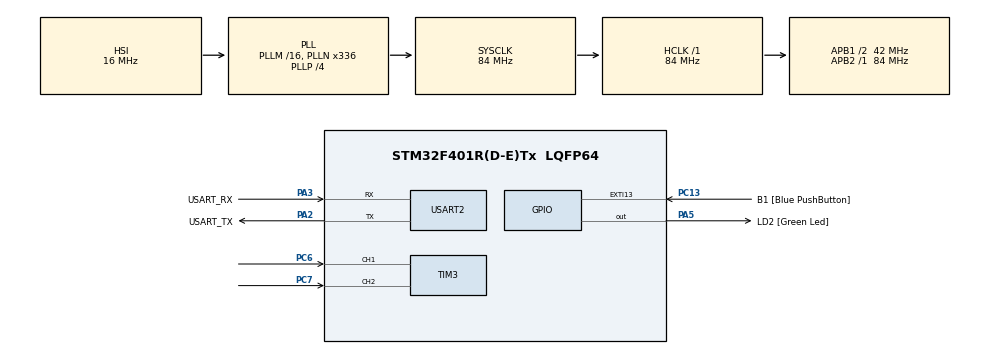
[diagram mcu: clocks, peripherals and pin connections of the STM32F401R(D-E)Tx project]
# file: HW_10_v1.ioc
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Dma.Request0=USART2_TX
Dma.USART2_TX.0.Direction=DMA_MEMORY_TO_PERIPH
Dma.USART2_TX.0.FIFOMode=DMA_FIFOMODE_DISABLE
Dma.USART2_TX.0.Instance=DMA1_Stream6
Dma.USART2_TX.0.MemDataAlignment=DMA_MDATAALIGN_BYTE
Dma.USART2_TX.0.MemInc=DMA_MINC_ENABLE
Dma.USART2_TX.0.Mode=DMA_NORMAL
Dma.USART2_TX.0.PeriphDataAlignment=DMA_PDATAALIGN_BYTE
Dma.USART2_TX.0.PeriphInc=DMA_PINC_DISABLE
Dma.USART2_TX.0.Priority=DMA_PRIORITY_LOW
Mcu.Family=STM32F4
Mcu.Name=STM32F401R(D-E)Tx
Mcu.Package=LQFP64
NVIC.DMA1_Stream6_IRQn=true\:0\:0\:false\:false\:true\:false\:true\:true
NVIC.PriorityGroup=NVIC_PRIORITYGROUP_0
NVIC.TIM2_IRQn=true\:0\:0\:false\:false\:true\:true\:true\:true
NVIC.USART2_IRQn=true\:0\:0\:false\:false\:true\:true\:true\:true
PA13.GPIO_Label=TMS
PA13.Mode=Serial_Wire
PA13.Signal=SYS_JTMS-SWDIO
PA14.GPIO_Label=TCK
PA14.Mode=Serial_Wire
PA14.Signal=SYS_JTCK-SWCLK
PA2.GPIO_Label=USART_TX
PA2.GPIO_Mode=GPIO_MODE_AF_PP
PA2.GPIO_PuPd=GPIO_NOPULL
PA2.GPIO_Speed=GPIO_SPEED_FREQ_LOW
PA2.Mode=Asynchronous
PA2.Signal=USART2_TX
PA3.GPIO_Label=USART_RX
PA3.GPIO_Mode=GPIO_MODE_AF_PP
PA3.GPIO_PuPd=GPIO_NOPULL
PA3.GPIO_Speed=GPIO_SPEED_FREQ_LOW
PA3.Mode=Asynchronous
PA3.Signal=USART2_RX
PA5.GPIO_Label=LD2 [Green Led]
PA5.GPIO_Mode=GPIO_MODE_OUTPUT_PP
PA5.GPIO_PuPd=GPIO_NOPULL
PA5.GPIO_Speed=GPIO_SPEED_FREQ_LOW
PA5.Signal=GPIO_Output
PB3.GPIO_Label=SWO
PB3.Signal=SYS_JTDO-SWO
PC13-ANTI_TAMP.GPIO_Label=B1 [Blue PushButton]
PC13-ANTI_TAMP.GPIO_ModeDefaultEXTI=GPIO_MODE_IT_FALLING
PC13-ANTI_TAMP.GPIO_PuPd=GPIO_NOPULL
PC13-ANTI_TAMP.Signal=GPXTI13
PC14-OSC32_IN.Mode=LSE-External-Oscillator
PC14-OSC32_IN.Signal=RCC_OSC32_IN
PC15-OSC32_OUT.Mode=LSE-External-Oscillator
PC15-OSC32_OUT.Signal=RCC_OSC32_OUT
PC6.Signal=S_TIM3_CH1
PC7.Signal=S_TIM3_CH2
PH0\ -\ OSC_IN.Mode=HSE-External-Clock-Source
PH0\ -\ OSC_IN.Signal=RCC_OSC_IN
PH1\ -\ OSC_OUT.Mode=HSE-External-Clock-Source
PH1\ -\ OSC_OUT.Signal=RCC_OSC_OUT
ProjectManager.HeapSize=0x200
ProjectManager.StackSize=0x400
ProjectManager.TargetToolchain=STM32CubeIDE
RCC.48MHZClocksFreq_Value=48000000
RCC.AHBFreq_Value=84000000
RCC.APB1CLKDivider=RCC_HCLK_DIV2
RCC.APB1Freq_Value=42000000
RCC.APB1TimFreq_Value=84000000
RCC.APB2Freq_Value=84000000
RCC.APB2TimFreq_Value=84000000
RCC.CortexFreq_Value=84000000
RCC.HCLKFreq_Value=84000000
RCC.HSE_VALUE=8000000
RCC.HSI_VALUE=16000000
RCC.PLLN=336
RCC.PLLP=RCC_PLLP_DIV4
RCC.PLLQ=7
RCC.SYSCLKFreq_VALUE=84000000
RCC.SYSCLKSource=RCC_SYSCLKSOURCE_PLLCLK
RCC.VCOOutputFreq_Value=336000000
SH.S_TIM3_CH1.0=TIM3_CH1,Encoder_Interface
SH.S_TIM3_CH2.0=TIM3_CH2,Encoder_Interface
TIM2.Period=10000-1
TIM2.Prescaler=8400-1
TIM3.ClockDivision=TIM_CLOCKDIVISION_DIV4
TIM3.IC1Filter=15
TIM3.IC1Polarity=TIM_ICPOLARITY_FALLING
TIM3.IC1Prescaler=TIM_ICPSC_DIV1
TIM3.IC2Filter=15
TIM3.IC2Prescaler=TIM_ICPSC_DIV1
USART2.VirtualMode=VM_ASYNC
VP_TIM2_VS_ClockSourceINT.Mode=Internal
board=NUCLEO-F401RE

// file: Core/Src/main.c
/* USER CODE BEGIN Header */
/**
  ******************************************************************************
  * @file           : main.c
  * @brief          : Main program body
  ******************************************************************************
  * @attention
  *
  * Copyright (c) 2024 STMicroelectronics.
  * All rights reserved.
  *
  * This software is licensed under terms that can be found in the LICENSE file
  * in the root directory of this software component.
  * If no LICENSE file comes with this software, it is provided AS-IS.
  *
  ******************************************************************************
  */
/* USER CODE END Header */
#include "main.h"

/* USER CODE BEGIN Includes */
#include <stdio.h>
/* USER CODE END Includes */

TIM_HandleTypeDef htim2;
TIM_HandleTypeDef htim3;

UART_HandleTypeDef huart2;
DMA_HandleTypeDef hdma_usart2_tx;

/* USER CODE BEGIN PV */
uint16_t old_count = 0;
char str[64];
/* USER CODE END PV */

void SystemClock_Config(void);
static void MX_GPIO_Init(void);
static void MX_DMA_Init(void);
static void MX_USART2_UART_Init(void);
static void MX_TIM2_Init(void);
static void MX_TIM3_Init(void);

/* USER CODE BEGIN 0 */

int16_t delta_counters(uint16_t count) {
	int16_t result;
	if(__HAL_TIM_GET_FLAG(&htim3, TIM_FLAG_UPDATE)) {// if the counter of the time overflowed or underflowed
		// assumption: at most the count value can do only 1 round clockwise or anti-clockwise for every read
		if(count < old_count) { //OVERFLOW
			result = (UINT16_MAX - old_count + count + 1);
		} else { //UNDERFLOW
			result = -(UINT16_MAX - count + old_count + 1 );
		}

		__HAL_TIM_CLEAR_FLAG(&htim3, TIM_FLAG_UPDATE); //clear the flag to not enter here again
		return result;
	}

	result = (count - old_count);
	return result;
}

void HAL_TIM_PeriodElapsedCallback(TIM_HandleTypeDef* htim) {
	if(htim->Instance == TIM2) {
		uint16_t count = __HAL_TIM_GetCounter(&htim3);
		int ticks = delta_counters(count);
		double rpm = ((double)ticks * 5 ) / 2; // 60/12 = 5; 2 because at every step is 2 tick

		int len = snprintf(str, sizeof(str), "Rpm: %.2f\r\n", rpm);
		if (HAL_UART_GetState(&huart2) == HAL_UART_STATE_READY) {
			HAL_UART_Transmit_DMA(&huart2, str, len);
		}
		old_count = count;
	}
}
/* USER CODE END 0 */

int main(void)
{

  /* MCU Configuration--------------------------------------------------------*/

  /* Reset of all peripherals, Initializes the Flash interface and the Systick. */
  HAL_Init();

  /* Configure the system clock */
  SystemClock_Config();

  /* Initialize all configured peripherals */
  MX_GPIO_Init();
  MX_DMA_Init();
  MX_USART2_UART_Init();
  MX_TIM2_Init();
  MX_TIM3_Init();
  /* USER CODE BEGIN 2 */
  HAL_TIM_Encoder_Start(&htim3, TIM_CHANNEL_ALL);
  HAL_TIM_Base_Start_IT(&htim2);
  /* USER CODE END 2 */

  /* Infinite loop */
  while (1)
  {

  }
}

void SystemClock_Config(void)
{
  RCC_OscInitTypeDef RCC_OscInitStruct = {0};
  RCC_ClkInitTypeDef RCC_ClkInitStruct = {0};

  /** Configure the main internal regulator output voltage
  */
  __HAL_RCC_PWR_CLK_ENABLE();
  __HAL_PWR_VOLTAGESCALING_CONFIG(PWR_REGULATOR_VOLTAGE_SCALE2);

  /** Initializes the RCC Oscillators according to the specified parameters
  * in the RCC_OscInitTypeDef structure.
  */
  RCC_OscInitStruct.OscillatorType = RCC_OSCILLATORTYPE_HSI;
  RCC_OscInitStruct.HSIState = RCC_HSI_ON;
  RCC_OscInitStruct.HSICalibrationValue = RCC_HSICALIBRATION_DEFAULT;
  RCC_OscInitStruct.PLL.PLLState = RCC_PLL_ON;
  RCC_OscInitStruct.PLL.PLLSource = RCC_PLLSOURCE_HSI;
  RCC_OscInitStruct.PLL.PLLM = 16;
  RCC_OscInitStruct.PLL.PLLN = 336;
  RCC_OscInitStruct.PLL.PLLP = RCC_PLLP_DIV4;
  RCC_OscInitStruct.PLL.PLLQ = 7;
  if (HAL_RCC_OscConfig(&RCC_OscInitStruct) != HAL_OK)
  {
    Error_Handler();
  }

  /** Initializes the CPU, AHB and APB buses clocks
  */
  RCC_ClkInitStruct.ClockType = RCC_CLOCKTYPE_HCLK|RCC_CLOCKTYPE_SYSCLK
                              |RCC_CLOCKTYPE_PCLK1|RCC_CLOCKTYPE_PCLK2;
  RCC_ClkInitStruct.SYSCLKSource = RCC_SYSCLKSOURCE_PLLCLK;
  RCC_ClkInitStruct.AHBCLKDivider = RCC_SYSCLK_DIV1;
  RCC_ClkInitStruct.APB1CLKDivider = RCC_HCLK_DIV2;
  RCC_ClkInitStruct.APB2CLKDivider = RCC_HCLK_DIV1;

  if (HAL_RCC_ClockConfig(&RCC_ClkInitStruct, FLASH_LATENCY_2) != HAL_OK)
  {
    Error_Handler();
  }
}

static void MX_TIM2_Init(void)
{

  TIM_ClockConfigTypeDef sClockSourceConfig = {0};
  TIM_MasterConfigTypeDef sMasterConfig = {0};

  htim2.Instance = TIM2;
  htim2.Init.Prescaler = 8400-1;
  htim2.Init.CounterMode = TIM_COUNTERMODE_UP;
  htim2.Init.Period = 10000-1;
  htim2.Init.ClockDivision = TIM_CLOCKDIVISION_DIV1;
  htim2.Init.AutoReloadPreload = TIM_AUTORELOAD_PRELOAD_DISABLE;
  if (HAL_TIM_Base_Init(&htim2) != HAL_OK)
  {
    Error_Handler();
  }
  sClockSourceConfig.ClockSource = TIM_CLOCKSOURCE_INTERNAL;
  if (HAL_TIM_ConfigClockSource(&htim2, &sClockSourceConfig) != HAL_OK)
  {
    Error_Handler();
  }
  sMasterConfig.MasterOutputTrigger = TIM_TRGO_RESET;
  sMasterConfig.MasterSlaveMode = TIM_MASTERSLAVEMODE_DISABLE;
  if (HAL_TIMEx_MasterConfigSynchronization(&htim2, &sMasterConfig) != HAL_OK)
  {
    Error_Handler();
  }

}

static void MX_TIM3_Init(void)
{

  TIM_Encoder_InitTypeDef sConfig = {0};
  TIM_MasterConfigTypeDef sMasterConfig = {0};

  htim3.Instance = TIM3;
  htim3.Init.Prescaler = 0;
  htim3.Init.CounterMode = TIM_COUNTERMODE_UP;
  htim3.Init.Period = 65535;
  htim3.Init.ClockDivision = TIM_CLOCKDIVISION_DIV4;
  htim3.Init.AutoReloadPreload = TIM_AUTORELOAD_PRELOAD_DISABLE;
  sConfig.EncoderMode = TIM_ENCODERMODE_TI1;
  sConfig.IC1Polarity = TIM_ICPOLARITY_FALLING;
  sConfig.IC1Selection = TIM_ICSELECTION_DIRECTTI;
  sConfig.IC1Prescaler = TIM_ICPSC_DIV1;
  sConfig.IC1Filter = 15;
  sConfig.IC2Polarity = TIM_ICPOLARITY_RISING;
  sConfig.IC2Selection = TIM_ICSELECTION_DIRECTTI;
  sConfig.IC2Prescaler = TIM_ICPSC_DIV1;
  sConfig.IC2Filter = 15;
  if (HAL_TIM_Encoder_Init(&htim3, &sConfig) != HAL_OK)
  {
    Error_Handler();
  }
  sMasterConfig.MasterOutputTrigger = TIM_TRGO_RESET;
  sMasterConfig.MasterSlaveMode = TIM_MASTERSLAVEMODE_DISABLE;
  if (HAL_TIMEx_MasterConfigSynchronization(&htim3, &sMasterConfig) != HAL_OK)
  {
    Error_Handler();
  }

}

static void MX_USART2_UART_Init(void)
{

  huart2.Instance = USART2;
  huart2.Init.BaudRate = 115200;
  huart2.Init.WordLength = UART_WORDLENGTH_8B;
  huart2.Init.StopBits = UART_STOPBITS_1;
  huart2.Init.Parity = UART_PARITY_NONE;
  huart2.Init.Mode = UART_MODE_TX_RX;
  huart2.Init.HwFlowCtl = UART_HWCONTROL_NONE;
  huart2.Init.OverSampling = UART_OVERSAMPLING_16;
  if (HAL_UART_Init(&huart2) != HAL_OK)
  {
    Error_Handler();
  }

}

static void MX_DMA_Init(void)
{

  /* DMA controller clock enable */
  __HAL_RCC_DMA1_CLK_ENABLE();

  /* DMA interrupt init */
  /* DMA1_Stream6_IRQn interrupt configuration */
  HAL_NVIC_SetPriority(DMA1_Stream6_IRQn, 0, 0);
  HAL_NVIC_EnableIRQ(DMA1_Stream6_IRQn);

}

static void MX_GPIO_Init(void)
{
  GPIO_InitTypeDef GPIO_InitStruct = {0};

  /* GPIO Ports Clock Enable */
  __HAL_RCC_GPIOC_CLK_ENABLE();
  __HAL_RCC_GPIOH_CLK_ENABLE();
  __HAL_RCC_GPIOA_CLK_ENABLE();
  __HAL_RCC_GPIOB_CLK_ENABLE();

  /*Configure GPIO pin Output Level */
  HAL_GPIO_WritePin(LD2_GPIO_Port, LD2_Pin, GPIO_PIN_RESET);

  /*Configure GPIO pin : B1_Pin */
  GPIO_InitStruct.Pin = B1_Pin;
  GPIO_InitStruct.Mode = GPIO_MODE_IT_FALLING;
  GPIO_InitStruct.Pull = GPIO_NOPULL;
  HAL_GPIO_Init(B1_GPIO_Port, &GPIO_InitStruct);

  /*Configure GPIO pin : LD2_Pin */
  GPIO_InitStruct.Pin = LD2_Pin;
  GPIO_InitStruct.Mode = GPIO_MODE_OUTPUT_PP;
  GPIO_InitStruct.Pull = GPIO_NOPULL;
  GPIO_InitStruct.Speed = GPIO_SPEED_FREQ_LOW;
  HAL_GPIO_Init(LD2_GPIO_Port, &GPIO_InitStruct);

}

void Error_Handler(void)
{
  __disable_irq();
  while (1)
  {
  }
}
